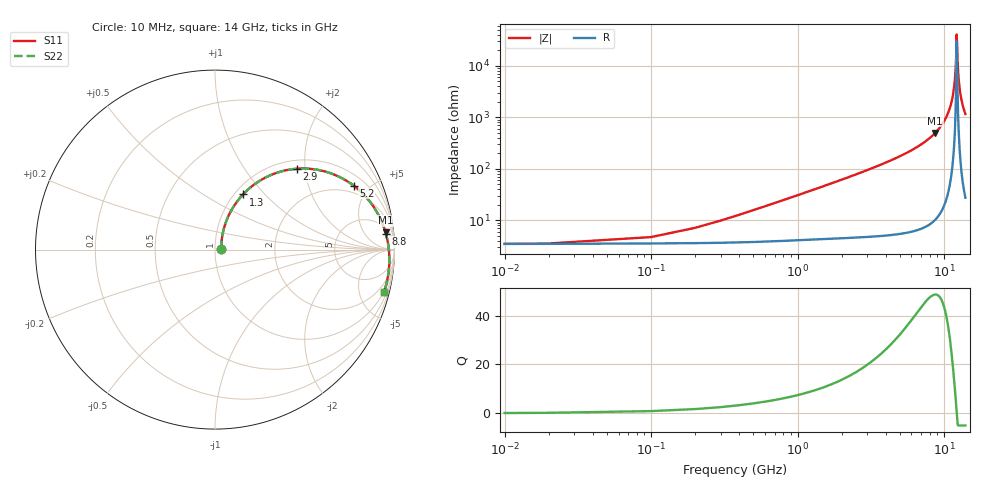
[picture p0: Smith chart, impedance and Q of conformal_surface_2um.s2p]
! Created with skrf 1.12.0 (http://scikit-rf.org).
# GHz S DB R 50.0
!freq dBS11 angS11 dBS21 angS21 dBS12 angS12 dBS22 angS22
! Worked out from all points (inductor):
!   142 points, 10 MHz to 14 GHz, reference 50 ohm
!   read as one part in series: L = 4.86 nH near 400 MHz
!   highest Q = 48.6 at 8.7 GHz (marker M1), where L = 9.08 nH
!   self-resonance near 12.2 GHz
!   S11 on the Smith chart (normalised r, x): 10 MHz: 1.07, +0.01; 1.3 GHz: 1.09, +0.76; 2.9 GHz: 1.18, +1.81; 5.2 GHz: 1.54, +3.98; 8.8 GHz: 8, +18; 14 GHz: 0.98, -8.04
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0.01  -29.42 4.9  -0.30 -0.2  -0.30 -0.2  -29.42 4.9
0.5  -16.92 67.9  -0.44 -8.9  -0.44 -8.9  -16.92 67.9
1.3  -9.25 63.1  -0.99 -21.7  -0.99 -21.7  -9.25 63.1
2.4  -4.96 50.1  -2.21 -36.9  -2.21 -36.9  -4.96 50.1
2.9  -3.86 44.7  -2.90 -42.9  -2.90 -42.9  -3.86 44.7
4.7  -1.73 28.5  -5.76 -60.0  -5.76 -60.0  -1.73 28.5
5.2  -1.41 24.8  -6.64 -63.7  -6.64 -63.7  -1.41 24.8
7.1  -0.68 13.4  -10.34 -75.4  -10.34 -75.4  -0.68 13.4
8.7  -0.40 5.7  -14.25 -83.1  -14.25 -83.1  -0.40 5.7
8.8  -0.39 5.3  -14.53 -83.6  -14.53 -83.6  -0.39 5.3
9.4  -0.33 2.7  -16.41 -86.1  -16.41 -86.1  -0.33 2.7
10.9  -0.24 -3.1  -23.42 -91.3  -23.42 -91.3  -0.24 -3.1
11.7  -0.22 -6.1  -31.57 -92.0  -31.57 -92.0  -0.22 -6.1
12  -0.22 -7.1  -38.74 -88.2  -38.74 -88.2  -0.22 -7.1
12.1  -0.22 -7.5  -43.43 -82.2  -43.43 -82.2  -0.22 -7.5
12.2  -0.22 -7.9  -52.45 -50.3  -52.45 -50.3  -0.22 -7.9
12.3  -0.22 -8.2  -48.65 53.6  -48.65 53.6  -0.22 -8.2
12.4  -0.22 -8.5  -41.64 69.4  -41.64 69.4  -0.22 -8.6
12.5  -0.22 -8.9  -37.71 73.5  -37.71 73.5  -0.22 -8.9
12.7  -0.22 -9.6  -32.94 76.1  -32.94 76.1  -0.22 -9.6
13.2  -0.23 -11.3  -26.74 76.6  -26.74 76.6  -0.23 -11.3
14  -0.25 -14.0  -21.66 74.8  -21.66 74.8  -0.26 -14.0
